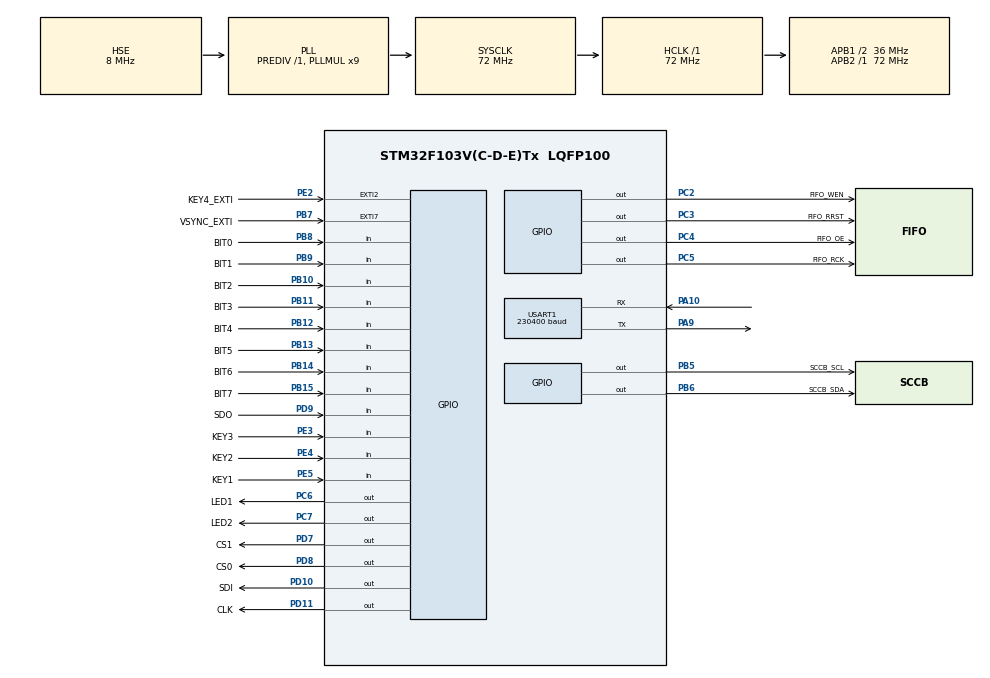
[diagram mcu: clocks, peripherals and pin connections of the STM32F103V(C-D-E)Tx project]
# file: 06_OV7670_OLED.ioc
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Mcu.Family=STM32F1
Mcu.Name=STM32F103V(C-D-E)Tx
Mcu.Package=LQFP100
NVIC.EXTI2_IRQn=true\:2\:0\:true\:false\:true\:true
NVIC.EXTI9_5_IRQn=true\:1\:0\:true\:false\:true\:true
NVIC.PriorityGroup=NVIC_PRIORITYGROUP_4
OSC_IN.Mode=HSE-External-Oscillator
OSC_IN.Signal=RCC_OSC_IN
OSC_OUT.Mode=HSE-External-Oscillator
OSC_OUT.Signal=RCC_OSC_OUT
PA10.Mode=Asynchronous
PA10.Signal=USART1_RX
PA9.Mode=Asynchronous
PA9.Signal=USART1_TX
PB10.GPIO_Label=BIT2
PB10.Signal=GPIO_Input
PB11.GPIO_Label=BIT3
PB11.Signal=GPIO_Input
PB12.GPIO_Label=BIT4
PB12.Signal=GPIO_Input
PB13.GPIO_Label=BIT5
PB13.Signal=GPIO_Input
PB14.GPIO_Label=BIT6
PB14.Signal=GPIO_Input
PB15.GPIO_Label=BIT7
PB15.Signal=GPIO_Input
PB5.GPIO_Label=SCCB_SCL
PB5.GPIO_PuPd=GPIO_PULLUP
PB5.GPIO_Speed=GPIO_SPEED_FREQ_HIGH
PB5.PinState=GPIO_PIN_SET
PB5.Signal=GPIO_Output
PB6.GPIO_Label=SCCB_SDA
PB6.GPIO_PuPd=GPIO_PULLUP
PB6.GPIO_Speed=GPIO_SPEED_FREQ_HIGH
PB6.PinState=GPIO_PIN_SET
PB6.Signal=GPIO_Output
PB7.GPIO_Label=VSYNC_EXTI
PB7.GPIO_ModeDefaultEXTI=GPIO_MODE_IT_FALLING
PB7.Signal=GPXTI7
PB8.GPIO_Label=BIT0
PB8.Signal=GPIO_Input
PB9.GPIO_Label=BIT1
PB9.Signal=GPIO_Input
PC2.GPIO_Label=FIFO_WEN
PC2.GPIO_Speed=GPIO_SPEED_FREQ_HIGH
PC2.Signal=GPIO_Output
PC3.GPIO_Label=FIFO_RRST
PC3.GPIO_Speed=GPIO_SPEED_FREQ_HIGH
PC3.Signal=GPIO_Output
PC4.GPIO_Label=FIFO_OE
PC4.GPIO_Speed=GPIO_SPEED_FREQ_HIGH
PC4.Signal=GPIO_Output
PC5.GPIO_Label=FIFO_RCK
PC5.GPIO_Speed=GPIO_SPEED_FREQ_HIGH
PC5.Signal=GPIO_Output
PC6.GPIO_Label=LED1
PC6.GPIO_Speed=GPIO_SPEED_FREQ_HIGH
PC6.Signal=GPIO_Output
PC7.GPIO_Label=LED2
PC7.GPIO_ModeDefaultOutputPP=GPIO_MODE_OUTPUT_PP
PC7.GPIO_Speed=GPIO_SPEED_FREQ_HIGH
PC7.Signal=GPIO_Output
PD10.GPIO_Label=SDI
PD10.GPIO_Speed=GPIO_SPEED_FREQ_HIGH
PD10.PinState=GPIO_PIN_RESET
PD10.Signal=GPIO_Output
PD11.GPIO_Label=CLK
PD11.GPIO_Speed=GPIO_SPEED_FREQ_HIGH
PD11.Signal=GPIO_Output
PD7.GPIO_Label=CS1
PD7.GPIO_Speed=GPIO_SPEED_FREQ_HIGH
PD7.PinState=GPIO_PIN_RESET
PD7.Signal=GPIO_Output
PD8.GPIO_Label=CS0
PD8.GPIO_Speed=GPIO_SPEED_FREQ_HIGH
PD8.PinState=GPIO_PIN_RESET
PD8.Signal=GPIO_Output
PD9.GPIO_Label=SDO
PD9.GPIO_PuPd=GPIO_PULLUP
PD9.Signal=GPIO_Input
PE2.GPIO_Label=KEY4_EXTI
PE2.GPIO_ModeDefaultEXTI=GPIO_MODE_IT_FALLING
PE2.Signal=GPXTI2
PE3.GPIO_Label=KEY3
PE3.Signal=GPIO_Input
PE4.GPIO_Label=KEY2
PE4.Signal=GPIO_Input
PE5.GPIO_Label=KEY1
PE5.Signal=GPIO_Input
ProjectManager.HeapSize=0x200
ProjectManager.StackSize=0x400
ProjectManager.TargetToolchain=SW4STM32
RCC.AHBFreq_Value=72000000
RCC.APB1CLKDivider=RCC_HCLK_DIV2
RCC.APB1Freq_Value=36000000
RCC.APB1TimFreq_Value=72000000
RCC.APB2Freq_Value=72000000
RCC.APB2TimFreq_Value=72000000
RCC.HCLKFreq_Value=72000000
RCC.PLLMUL=RCC_PLL_MUL9
RCC.PLLSourceVirtual=RCC_PLLSOURCE_HSE
RCC.SYSCLKFreq_VALUE=72000000
RCC.SYSCLKSource=RCC_SYSCLKSOURCE_PLLCLK
RCC.USBFreq_Value=72000000
USART1.BaudRate=230400
USART1.VirtualMode=VM_ASYNC
VP_SYS_VS_ND.Mode=No_Debug
board=custom

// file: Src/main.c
/* USER CODE BEGIN Header */
/**
  ******************************************************************************
  * @file           : main.c
  * @brief          : Main program body
  ******************************************************************************
  ** This notice applies to any and all portions of this file
  * that are not between comment pairs USER CODE BEGIN and
  * USER CODE END. Other portions of this file, whether
  * inserted by the user or by software development tools
  * are owned by their respective copyright owners.
  *
  * COPYRIGHT(c) 2019 STMicroelectronics
  *
  * Redistribution and use in source and binary forms, with or without modification,
  * are permitted provided that the following conditions are met:
  *   1. Redistributions of source code must retain the above copyright notice,
  *      this list of conditions and the following disclaimer.
  *   2. Redistributions in binary form must reproduce the above copyright notice,
  *      this list of conditions and the following disclaimer in the documentation
  *      and/or other materials provided with the distribution.
  *   3. Neither the name of STMicroelectronics nor the names of its contributors
  *      may be used to endorse or promote products derived from this software
  *      without specific prior written permission.
  *
  * THIS SOFTWARE IS PROVIDED BY THE COPYRIGHT HOLDERS AND CONTRIBUTORS "AS IS"
  * AND ANY EXPRESS OR IMPLIED WARRANTIES, INCLUDING, BUT NOT LIMITED TO, THE
  * IMPLIED WARRANTIES OF MERCHANTABILITY AND FITNESS FOR A PARTICULAR PURPOSE ARE
  * DISCLAIMED. IN NO EVENT SHALL THE COPYRIGHT HOLDER OR CONTRIBUTORS BE LIABLE
  * FOR ANY DIRECT, INDIRECT, INCIDENTAL, SPECIAL, EXEMPLARY, OR CONSEQUENTIAL
  * DAMAGES (INCLUDING, BUT NOT LIMITED TO, PROCUREMENT OF SUBSTITUTE GOODS OR
  * SERVICES; LOSS OF USE, DATA, OR PROFITS; OR BUSINESS INTERRUPTION) HOWEVER
  * CAUSED AND ON ANY THEORY OF LIABILITY, WHETHER IN CONTRACT, STRICT LIABILITY,
  * OR TORT (INCLUDING NEGLIGENCE OR OTHERWISE) ARISING IN ANY WAY OUT OF THE USE
  * OF THIS SOFTWARE, EVEN IF ADVISED OF THE POSSIBILITY OF SUCH DAMAGE.
  *
  ******************************************************************************
  */
/* USER CODE END Header */

#include "main.h"
#include "usart.h"
#include "gpio.h"

/* USER CODE BEGIN Includes */
#include "sensor.h"
#include "oled.h"
#include "delay.h"
#include "serial.h"
#include <string.h>
#include <assert.h>

#include "color_bar_test.h"
/* USER CODE END Includes */

/* USER CODE BEGIN PD */
//#define DEBUG
#define COLOR_MODE  1
#define MONO_MODE   0
/* USER CODE END PD */

/* USER CODE BEGIN PV */
unsigned int Vsync=0;
unsigned int a, b, c_data;
char str[]="0x0000";
char str_gray[]="0x00";
int i;
/* USER CODE END PV */

void SystemClock_Config(void);
/* USER CODE BEGIN PFP */

void OV7670_SendOneFrame(unsigned int output_h, unsigned int output_w)
{
  for(a=0; a<output_h; a++)            // rows
  {
    for(b=0; b<output_w; b++)          // columns
    {
      FIFO_RCK_L();
      asm("NOP");asm("NOP");
      c_data=GPIOB->IDR&0xff00;        // read high-8 bits of 1 byte
      FIFO_RCK_H();
      asm("NOP");asm("NOP");
      FIFO_RCK_L();
      asm("NOP");asm("NOP");
      c_data|=(GPIOB->IDR>>8)&0x00ff;  // read low-8 bits of 1 byte
      FIFO_RCK_H();
      // LCD_WriteRAM(c_data);         // write RGB565 data to TFT GRAM
      i = sprintf(str, "%x", c_data);
      Debug_Print_String(&huart1, str);
      Debug_Print_String(&huart1, ",");
    }
    HAL_GPIO_TogglePin(LED2_GPIO_Port, LED2_Pin);
  }
}

void OV7670_SendOneFrame_Zip(unsigned int output_h, unsigned int output_w)
{
  unsigned int row, col, i;
  uint16_t tmp;
  uint16_t sum28[28][3];
  uint16_t r_data = 0;
  uint16_t g_data = 0;
  uint16_t b_data = 0;
  assert(0==output_h%8);
  assert(0==output_w%8);
  for(row=0; row<output_h; row++)      // rows
  {
	for(col=0; col<output_w; col++)    // columns
    {
      FIFO_RCK_L();
      asm("NOP");asm("NOP");
      c_data=GPIOB->IDR&0xff00;        // read high-8 bits of 1 byte
      FIFO_RCK_H();
      asm("NOP");asm("NOP");
      FIFO_RCK_L();
      asm("NOP");asm("NOP");
      c_data|=(GPIOB->IDR>>8)&0x00ff;  // read low-8 bits of 1 byte
      r_data = c_data>>11;
      g_data = (c_data>>5)&0x3F;
      b_data = c_data&0x1F;
      FIFO_RCK_H();
      // LCD_WriteRAM(c_data);         // write RGB565 data to TFT GRAM

      sum28[col/8][0] += r_data;
      sum28[col/8][1] += g_data;
      sum28[col/8][2] += b_data;
    }

    HAL_GPIO_TogglePin(LED2_GPIO_Port, LED2_Pin);

    if(0==(row+1)%8)
    {
		for(i=0;i<28;i++)
		{
			tmp = ((sum28[i][0]>>6)<<11)|((sum28[i][1]>>6)<<5)|(sum28[i][2]>>6);
			sprintf(str, "%x", tmp);
//			sprintf(str, "%x", i);
			Debug_Print_String(&huart1, str);
			Debug_Print_String(&huart1, ",");
		}

		for(i=0;i<28;i++)
		{
			sum28[i][0] = 0;
			sum28[i][1] = 0;
			sum28[i][2] = 0;
		}
    }
  }
}

void OV7670_SendOneFrame_Gray(void)   // need to check!
{
  for(a=0; a<240; a++)  // 240 rows
  {
    for(b=0; b<320; b++)  // 320 columns
    {
      FIFO_RCK_L();
      asm("NOP");asm("NOP");
//      c_data=(GPIOB->IDR>>8)&0xff;  // read high-4 bits of 2 bytes GPIO bits
      c_data=(GPIOB->IDR>>12)&0x0f;   // read high-4 bits of 2 bytes GPIO bits
      FIFO_RCK_H();
      asm("NOP");asm("NOP");
      // LCD_WriteRAM(c_data);        // write RGB565 data to TFT GRAM
      i = sprintf(str_gray, "%x", c_data);
      Debug_Print_String(&huart1, str_gray);
      Debug_Print_String(&huart1, ",");
    }
    HAL_GPIO_TogglePin(LED2_GPIO_Port, LED2_Pin);
  }
}
/* USER CODE END PFP */

int main(void)
{
  /* USER CODE BEGIN 1 */
  unsigned int mode = COLOR_MODE;
  unsigned int output_w = 224;
  unsigned int output_h = 224;
  /* USER CODE END 1 */

  /* MCU Configuration--------------------------------------------------------*/

  /* Reset of all peripherals, Initializes the Flash interface and the Systick. */
  HAL_Init();

  /* Configure the system clock */
  SystemClock_Config();

  /* Initialize all configured peripherals */
  MX_GPIO_Init();
  MX_USART1_UART_Init();
  /* USER CODE BEGIN 2 */
  OLED_Init();
  OLED_Clear();

  Debug_Print_String_ln(&huart1, "Init ov7670...");

  FIFO_OE_L();
  FIFO_WEN_H();

  if(0==Sensor_init(mode))  // Init CMOS Sensor
  {
	Debug_Print_String_ln(&huart1, "Init out");
	return 0;
  }
  if(0==OV7670_config_window(10, 184, output_h, output_w))
  {
    Debug_Print_String_ln(&huart1, "conf out");
    return 0;
  }
//  ov7670_set_hw(0,240,0,240);
  Debug_Print_String_ln(&huart1, "Init ov7670 success!");
  Vsync = 0;
  ////////////////////////////////////////
  FIFO_RRST_L();
  FIFO_RCK_L();
  FIFO_RCK_H();
  FIFO_RCK_L();
  FIFO_RRST_H();
  FIFO_RCK_H();
  Delay_Us(50);
  ////////////////////////////////////////
//  DispStr_GB2312(20,0,"���");
//  OLED_DispStr(0,0, (uint8_t*)"Size 8X6 Test", FONT_8X6);
  OLED_DispStr(0,0, (uint8_t *)"Sample Display", FONT_16X8);
  /* USER CODE END 2 */

  /* Infinite loop */
  while (1)
  {
    /* USER CODE BEGIN 3 */
    if(!HAL_GPIO_ReadPin(GPIOE, KEY1_Pin))  // 0
    {
      HAL_Delay(10);
      if(HAL_GPIO_ReadPin(GPIOE, KEY1_Pin))  // 1
      {
      #ifdef DEBUG
	  OV7670_SendOneFrame_ColorBar();
	  Debug_Print_String(&huart1, "\r");
      #else
	  if(Vsync==2)
	  {
	    FIFO_RRST_L();
	    FIFO_RCK_L();
	    FIFO_RCK_H();
	    FIFO_RCK_L();
	    FIFO_RRST_H();
	    FIFO_RCK_H();
	    if(mode)
	      {
//	    	OV7670_SendOneFrame(output_h, output_w);
	    	OV7670_SendOneFrame_Zip(output_h, output_w);
	      }
	    else
	      {OV7670_SendOneFrame_Gray();}
	    Debug_Print_String(&huart1, "\r");
	    Vsync = 0;
	  }
	  #endif
      }
    }
  }
  return 1;
  /* USER CODE END 3 */
}

void SystemClock_Config(void)
{
  RCC_OscInitTypeDef RCC_OscInitStruct = {0};
  RCC_ClkInitTypeDef RCC_ClkInitStruct = {0};

  /**Initializes the CPU, AHB and APB busses clocks
  */
  RCC_OscInitStruct.OscillatorType = RCC_OSCILLATORTYPE_HSE;
  RCC_OscInitStruct.HSEState = RCC_HSE_ON;
  RCC_OscInitStruct.HSEPredivValue = RCC_HSE_PREDIV_DIV1;
  RCC_OscInitStruct.HSIState = RCC_HSI_ON;
  RCC_OscInitStruct.PLL.PLLState = RCC_PLL_ON;
  RCC_OscInitStruct.PLL.PLLSource = RCC_PLLSOURCE_HSE;
  RCC_OscInitStruct.PLL.PLLMUL = RCC_PLL_MUL9;
  if (HAL_RCC_OscConfig(&RCC_OscInitStruct) != HAL_OK)
  {
    Error_Handler();
  }
  /**Initializes the CPU, AHB and APB busses clocks
  */
  RCC_ClkInitStruct.ClockType = RCC_CLOCKTYPE_HCLK|RCC_CLOCKTYPE_SYSCLK
                              |RCC_CLOCKTYPE_PCLK1|RCC_CLOCKTYPE_PCLK2;
  RCC_ClkInitStruct.SYSCLKSource = RCC_SYSCLKSOURCE_PLLCLK;
  RCC_ClkInitStruct.AHBCLKDivider = RCC_SYSCLK_DIV1;
  RCC_ClkInitStruct.APB1CLKDivider = RCC_HCLK_DIV2;
  RCC_ClkInitStruct.APB2CLKDivider = RCC_HCLK_DIV1;

  if (HAL_RCC_ClockConfig(&RCC_ClkInitStruct, FLASH_LATENCY_2) != HAL_OK)
  {
    Error_Handler();
  }
}

/* USER CODE BEGIN 4 */
void HAL_GPIO_EXTI_Callback(uint16_t GPIO_Pin)
{
  /*VSYNC EXTI line: 7*/
  if(__HAL_GPIO_EXTI_GET_FLAG(VSYNC_EXTI_Pin))
  {
    if(Vsync==0)
    {
      Vsync=1;
      FIFO_WEN_H();
    }
    else if(Vsync==1)
    {
      FIFO_WEN_L();
      Vsync=2;
      HAL_GPIO_TogglePin(LED1_GPIO_Port, LED1_Pin);
    }
  }
  /*KEY1 EXTI line: 5*/
  if(__HAL_GPIO_EXTI_GET_FLAG(KEY4_EXTI_Pin))
  {
    HAL_Delay(10);
    if(HAL_GPIO_ReadPin(KEY4_EXTI_GPIO_Port, KEY4_EXTI_Pin) == 0)  // if KEY1 is still PRESSED DOWN
    {
      HAL_UART_Transmit(&huart1, (uint8_t *)"KEY4\t", strlen("KEY4\t"), 10);
      /* ��תLED0 */
      HAL_GPIO_TogglePin(LED2_GPIO_Port, LED2_Pin);
    }
  }
}
/* USER CODE END 4 */

void Error_Handler(void)
{
}

/************************ (C) COPYRIGHT STMicroelectronics *****END OF FILE****/
